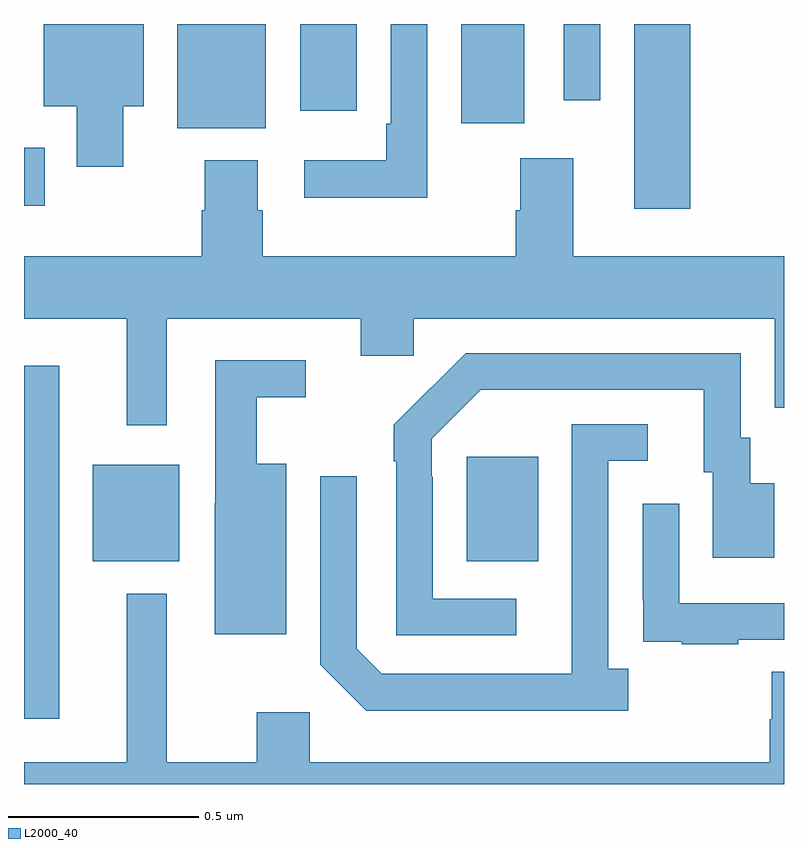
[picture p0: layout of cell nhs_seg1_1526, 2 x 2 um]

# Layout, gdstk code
import gdstk
lib = gdstk.Library(unit=1e-6, precision=1e-09)
def R(c, l, rs):  # rectangles x0, y0, x1, y1
    for r in rs: c.add(gdstk.rectangle(r[:2], r[2:], *l))
def P(c, l, *ps):  # polygons
    for p in ps: c.add(gdstk.Polygon(p, *l))
L2000_40 = (2000, 40)

nhs_seg1_1526 = lib.new_cell('nhs_seg1_1526')
R(nhs_seg1_1526, L2000_40, [(130,525.371,130.093,526.3), (130.181,525.785,130.408,526.039), (131.165,525.785,131.353,526.06), (131.606,526.713,131.753,527.199), (130,526.721,130.054,526.873), (130.403,526.925,130.636,527.199), (131.15,526.938,131.317,527.199), (130.727,526.971,130.876,527.199), (131.421,526.998,131.517,527.199)])
P(nhs_seg1_1526, L2000_40, [(130.261,526.982),(130.315,526.982),(130.315,527.199),(130.052,527.199),(130.052,526.982),(130.139,526.982),(130.139,526.824),(130.261,526.824)],
  [(131.061,527.199),(130.965,527.199),(130.965,526.936),(130.953,526.936),(130.953,526.84),(130.737,526.84),(130.737,526.742),(131.061,526.742)],
  [(130.375,526.424),(130.886,526.424),(130.886,526.326),(131.025,526.326),(131.025,526.424),(131.975,526.424),(131.975,526.189),(132,526.189),(132,526.588),(131.446,526.588),(131.446,526.846),(131.306,526.846),(131.306,526.709),(131.294,526.709),(131.294,526.588),(130.628,526.588),(130.628,526.709),(130.615,526.709),(130.615,526.84),(130.475,526.84),(130.475,526.709),(130.468,526.709),(130.468,526.588),(130,526.588),(130,526.424),(130.271,526.424),(130.271,526.143),(130.375,526.143)],
  [(131.296,525.687),(131.076,525.687),(131.076,526.007),(131.073,526.007),(131.073,526.107),(131.202,526.236),(131.789,526.236),(131.789,526.02),(131.813,526.02),(131.813,525.795),(131.974,525.795),(131.974,525.991),(131.911,525.991),(131.911,526.11),(131.886,526.11),(131.886,526.332),(131.162,526.332),(131.071,526.241),(131.07,526.242),(130.973,526.144),(130.973,526.049),(130.98,526.049),(130.98,525.591),(131.296,525.591)],
  [(130.69,526.042),(130.612,526.042),(130.612,526.217),(130.741,526.217),(130.741,526.314),(130.503,526.314),(130.503,525.938),(130.502,525.938),(130.502,525.593),(130.69,525.593)],
  [(131.59,525.502),(131.538,525.502),(131.538,526.05),(131.641,526.05),(131.641,526.146),(131.442,526.146),(131.442,525.689),(131.441,525.689),(131.441,525.489),(130.941,525.489),(130.875,525.555),(130.875,526.009),(130.779,526.009),(130.779,525.513),(130.9,525.392),(131.59,525.392)],
  [(131.879,525.579),(132,525.579),(132,525.675),(131.724,525.675),(131.724,525.937),(131.628,525.937),(131.628,525.682),(131.629,525.682),(131.629,525.573),(131.731,525.573),(131.731,525.567),(131.879,525.567)],
  [(132,525.494),(131.968,525.494),(131.968,525.369),(131.963,525.369),(131.963,525.256),(130.752,525.256),(130.752,525.388),(130.613,525.388),(130.613,525.256),(130.375,525.256),(130.375,525.7),(130.271,525.7),(130.271,525.256),(130,525.256),(130,525.199),(132,525.199)])

lib.write_gds('nhs_seg1_1526.gds')
